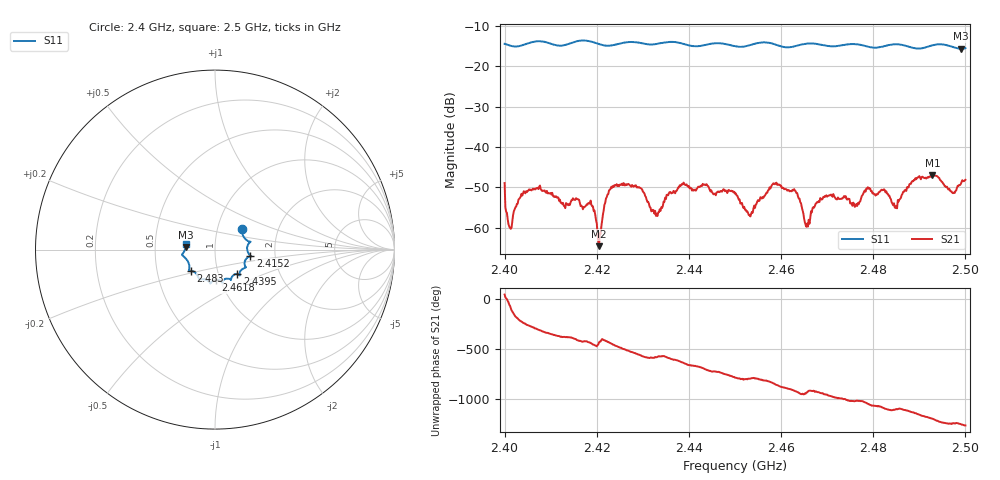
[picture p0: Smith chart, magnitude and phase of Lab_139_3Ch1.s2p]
# Hz S RI R 50
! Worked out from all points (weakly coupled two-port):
!   601 points, 2.4 GHz to 2.5 GHz, reference 50 ohm
!   highest |S21| = -46.95 dB at 2.4928 GHz (marker M1); lowest = -64.5 dB at 2.4205 GHz (marker M2)
!   lowest |S11| = -15.7 dB at 2.499 GHz (marker M3), VSWR 1.39, Z = 35.9 + j1.11 ohm
!   |S11| at or under -10 dB: start of sweep to end of sweep
!   S12 and S22 are empty: the file has one direction only
!   S11 on the Smith chart (normalised r, x): 2.4 GHz: 1.31, +0.31; 2.4152 GHz: 1.48, -0.10; 2.4395 GHz: 1.23, -0.34; 2.4618 GHz: 0.95, -0.33; 2.483 GHz: 0.74, -0.18; 2.5 GHz: 0.72, +0.05
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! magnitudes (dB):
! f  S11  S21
! 2.4 GHz  -14.5  -48.9
! 2.4012 GHz  -14.9  -60.0
! 2.4052 GHz  -14.4  -50.8
! 2.4152 GHz  -14.0  -53.1
! 2.4167 GHz  -13.7  -54.5
! 2.419 GHz  -14.0  -54.7
! 2.4205 GHz  -14.5  -64.5
! 2.4238 GHz  -14.8  -49.4
! 2.4293 GHz  -14.2  -50.1
! 2.4333 GHz  -14.4  -56.2
! 2.4395 GHz  -14.7  -49.3
! 2.45 GHz  -15.1  -51.6
! 2.4533 GHz  -14.8  -57.2
! 2.4585 GHz  -14.6  -49.1
! 2.4618 GHz  -15.3  -51.0
! 2.4655 GHz  -14.5  -59.7
! 2.4667 GHz  -14.4  -56.2
! 2.483 GHz  -14.9  -51.5
! 2.4833 GHz  -14.8  -52.0
! 2.4928 GHz  -14.9  -47.0
! 2.499 GHz  -15.7  -49.2
! 2.5 GHz  -15.6  -48.1
